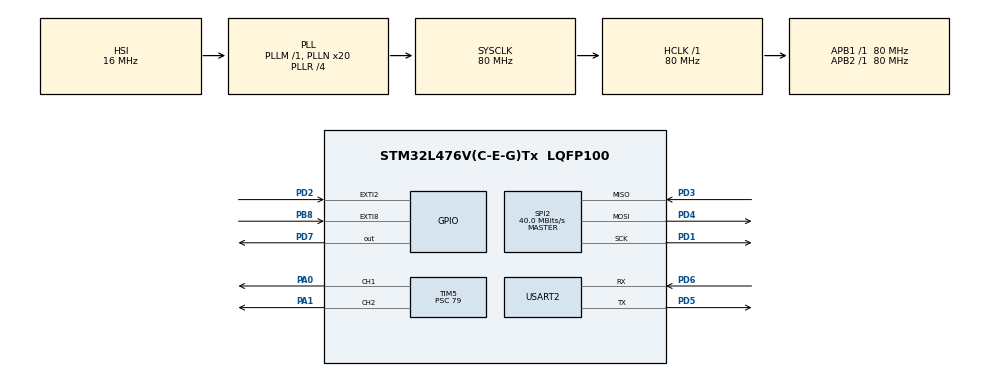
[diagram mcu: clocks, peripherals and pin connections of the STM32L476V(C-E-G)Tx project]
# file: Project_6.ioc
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FREERTOS.Tasks01=defaultTask,0,128,StartDefaultTask,Default,NULL
FREERTOS.configTOTAL_HEAP_SIZE=10000
FREERTOS.configUSE_IDLE_HOOK=1
Mcu.Family=STM32L4
Mcu.Name=STM32L476V(C-E-G)Tx
Mcu.Package=LQFP100
NVIC.PriorityGroup=NVIC_PRIORITYGROUP_4
NVIC.TIM2_IRQn=true\:0\:0\:false\:false\:true\:false\:false
NVIC.TimeBase=TIM2_IRQn
NVIC.TimeBaseIP=TIM2
NVIC.USART2_IRQn=true\:5\:0\:false\:false\:true\:true\:true
PA0.GPIO_Speed=GPIO_SPEED_FREQ_HIGH
PA0.Signal=S_TIM5_CH1
PA1.GPIO_Speed=GPIO_SPEED_FREQ_HIGH
PA1.Signal=S_TIM5_CH2
PB8.Signal=GPXTI8
PD1.Mode=Full_Duplex_Master
PD1.Signal=SPI2_SCK
PD2.Signal=GPXTI2
PD3.Mode=Full_Duplex_Master
PD3.Signal=SPI2_MISO
PD4.Mode=Full_Duplex_Master
PD4.Signal=SPI2_MOSI
PD5.Mode=Asynchronous
PD5.Signal=USART2_TX
PD6.Mode=Asynchronous
PD6.Signal=USART2_RX
PD7.Signal=GPIO_Output
ProjectManager.HeapSize=0x200
ProjectManager.StackSize=0x400
ProjectManager.TargetToolchain=MDK-ARM V5
RCC.ADCFreq_Value=96000000
RCC.AHBFreq_Value=80000000
RCC.APB1Freq_Value=80000000
RCC.APB1TimFreq_Value=80000000
RCC.APB2Freq_Value=80000000
RCC.APB2TimFreq_Value=80000000
RCC.CortexFreq_Value=80000000
RCC.HCLKFreq_Value=80000000
RCC.HSE_VALUE=8000000
RCC.HSI_VALUE=16000000
RCC.LSE_VALUE=32768
RCC.MSI_VALUE=4000000
RCC.PLLN=20
RCC.PLLR=RCC_PLLR_DIV4
RCC.PLLSAI1N=12
RCC.PLLSAI1Q=RCC_PLLQ_DIV4
RCC.PLLSourceVirtual=RCC_PLLSOURCE_HSI
RCC.SYSCLKFreq_VALUE=80000000
RCC.SYSCLKSource=RCC_SYSCLKSOURCE_PLLCLK
RCC.USBFreq_Value=48000000
RCC.VCOOutputFreq_Value=320000000
SH.S_TIM5_CH1.0=TIM5_CH1,PWM Generation1 CH1
SH.S_TIM5_CH2.0=TIM5_CH2,PWM Generation2 CH2
SPI2.CalculateBaudRate=40.0 MBits/s
SPI2.Direction=SPI_DIRECTION_2LINES
SPI2.Mode=SPI_MODE_MASTER
SPI2.VirtualType=VM_MASTER
TIM5.Channel-PWM\ Generation1\ CH1=TIM_CHANNEL_1
TIM5.Channel-PWM\ Generation2\ CH2=TIM_CHANNEL_2
TIM5.Period=20000
TIM5.Prescaler=79
TIM5.Pulse-PWM\ Generation1\ CH1=10000
TIM5.Pulse-PWM\ Generation2\ CH2=1000
USART2.VirtualMode-Asynchronous=VM_ASYNC
VP_FREERTOS_VS_ENABLE.Mode=Enabled
VP_RNG_VS_RNG.Mode=RNG_Activate
VP_SYS_VS_tim2.Mode=TIM2
VP_TIM5_VS_ClockSourceINT.Mode=Internal
board=custom

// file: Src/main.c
/* USER CODE BEGIN Header */
/**
  ******************************************************************************
  * @file           : main.c
  * @brief          : Main program body
  ******************************************************************************
  * This notice applies to any and all portions of this file
  * that are not between comment pairs USER CODE BEGIN and
  * USER CODE END. Other portions of this file, whether
  * inserted by the user or by software development tools
  * are owned by their respective copyright owners.
  *
  * Copyright (c) 2019 STMicroelectronics International N.V.
  * All rights reserved.
  *
  * Redistribution and use in source and binary forms, with or without
  * modification, are permitted, provided that the following conditions are met:
  *
  * 1. Redistribution of source code must retain the above copyright notice,
  *    this list of conditions and the following disclaimer.
  * 2. Redistributions in binary form must reproduce the above copyright notice,
  *    this list of conditions and the following disclaimer in the documentation
  *    and/or other materials provided with the distribution.
  * 3. Neither the name of STMicroelectronics nor the names of other
  *    contributors to this software may be used to endorse or promote products
  *    derived from this software without specific written permission.
  * 4. This software, including modifications and/or derivative works of this
  *    software, must execute solely and exclusively on microcontroller or
  *    microprocessor devices manufactured by or for STMicroelectronics.
  * 5. Redistribution and use of this software other than as permitted under
  *    this license is void and will automatically terminate your rights under
  *    this license.
  *
  * THIS SOFTWARE IS PROVIDED BY STMICROELECTRONICS AND CONTRIBUTORS "AS IS"
  * AND ANY EXPRESS, IMPLIED OR STATUTORY WARRANTIES, INCLUDING, BUT NOT
  * LIMITED TO, THE IMPLIED WARRANTIES OF MERCHANTABILITY, FITNESS FOR A
  * PARTICULAR PURPOSE AND NON-INFRINGEMENT OF THIRD PARTY INTELLECTUAL PROPERTY
  * RIGHTS ARE DISCLAIMED TO THE FULLEST EXTENT PERMITTED BY LAW. IN NO EVENT
  * SHALL STMICROELECTRONICS OR CONTRIBUTORS BE LIABLE FOR ANY DIRECT, INDIRECT,
  * INCIDENTAL, SPECIAL, EXEMPLARY, OR CONSEQUENTIAL DAMAGES (INCLUDING, BUT NOT
  * LIMITED TO, PROCUREMENT OF SUBSTITUTE GOODS OR SERVICES; LOSS OF USE, DATA,
  * OR PROFITS; OR BUSINESS INTERRUPTION) HOWEVER CAUSED AND ON ANY THEORY OF
  * LIABILITY, WHETHER IN CONTRACT, STRICT LIABILITY, OR TORT (INCLUDING
  * NEGLIGENCE OR OTHERWISE) ARISING IN ANY WAY OUT OF THE USE OF THIS SOFTWARE,
  * EVEN IF ADVISED OF THE POSSIBILITY OF SUCH DAMAGE.
  *
  ******************************************************************************
  */
/* USER CODE END Header */

#include "main.h"
#include "cmsis_os.h"

/* USER CODE BEGIN Includes */
#include "../Drivers/BSP/STM32L476G-Discovery/stm32l476g_discovery_gyroscope.h"
#include "servo.h"
#include "UART.h"
#include "gpio.h"
#include "recipe.h"
/* USER CODE END Includes */

/* USER CODE BEGIN PD */
#define SERVO_THRESHOLD_RANGE 75

#define OPCODE_MASK 0xE0
#define ARGS_MASK 0x1F
/* USER CODE END PD */

RNG_HandleTypeDef hrng;

SPI_HandleTypeDef hspi2;

TIM_HandleTypeDef htim5;

UART_HandleTypeDef huart2;

osThreadId defaultTaskHandle;
/* USER CODE BEGIN PV */
UART_HandleTypeDef huart2;

uint8_t rx_buffer[10];  // Shared buffer between foreground and UART RX
uint8_t rx_byte;        // the currently received byte
uint8_t rx_index = 0;   // pointer into the rx_buffer
SemaphoreHandle_t  transmit_mutex;  // protects UART transmitter resource
SemaphoreHandle_t  receive_mutex;   // protects UART receiveer resource

char print_buffer[128];

float gyro_val[] = {0.0, 0.0, 0.0};
uint32_t gyro_angle[] = {0, 0, 0};

int player_pos = 0;

int display_player_pos = 0;

int program_counter = 0;

unsigned char Level_1[] = {MOV|0, MOV|1, MOV|3, MOV|2, MOV|5};
unsigned char Level_2[] = {MOV|1, MOV|4, MOV|1, MOV|3, MOV|4};
unsigned char Level_3[] = {MOV|0, MOV|1, MOV|2, MOV|0, MOV|5};
/* USER CODE END PV */

void SystemClock_Config(void);
static void MX_GPIO_Init(void);
static void MX_USART2_UART_Init(void);
static void MX_RNG_Init(void);
static void MX_TIM5_Init(void);
static void MX_SPI2_Init(void);
void StartDefaultTask(void const * argument);

/* USER CODE BEGIN PFP */
void thread_init(void);
void gyro_thread(void* argument);
int random(int max, int min);
void servo_thread(void* argument);
void Timer5_init(void);
int FindCurrentPos(int arg);
void parse_recipe (int op, int args);
/* USER CODE END PFP */

int main(void)
{

  /* MCU Configuration--------------------------------------------------------*/

  /* Reset of all peripherals, Initializes the Flash interface and the Systick. */
  HAL_Init();

  /* USER CODE BEGIN Init */
	//BSP_GYRO_Init();
	UART_Init();
	//Timer5_init();

  /* USER CODE END Init */

  /* Configure the system clock */
  SystemClock_Config();

  /* Initialize all configured peripherals */
  MX_GPIO_Init();
  MX_USART2_UART_Init();
  MX_RNG_Init();
  MX_TIM5_Init();
  MX_SPI2_Init();
  /* USER CODE BEGIN 2 */
	//UART_Init();
	//GPIO_Init();
	//Timer5_init();
	BSP_GYRO_Init();
	HAL_TIM_PWM_Start(&htim5, TIM_CHANNEL_1);
  HAL_TIM_PWM_Start(&htim5, TIM_CHANNEL_2);

	SetPosition(0, 500);
	SetPosition(1, 1000);

  /* USER CODE END 2 */

  /* Create the thread(s) */
  /* definition and creation of defaultTask */
  osThreadDef(defaultTask, StartDefaultTask, osPriorityNormal, 0, 128);
  defaultTaskHandle = osThreadCreate(osThread(defaultTask), NULL);

  /* USER CODE BEGIN RTOS_THREADS */
  /* add threads, ... */
	thread_init();
  /* USER CODE END RTOS_THREADS */

  /* Start scheduler */
  osKernelStart();

  /* We should never get here as control is now taken by the scheduler */

  /* Infinite loop */
  while (1)
  {

  }
}

void SystemClock_Config(void)
{
  RCC_OscInitTypeDef RCC_OscInitStruct = {0};
  RCC_ClkInitTypeDef RCC_ClkInitStruct = {0};
  RCC_PeriphCLKInitTypeDef PeriphClkInit = {0};

  /**Initializes the CPU, AHB and APB busses clocks
  */
  RCC_OscInitStruct.OscillatorType = RCC_OSCILLATORTYPE_HSI;
  RCC_OscInitStruct.HSIState = RCC_HSI_ON;
  RCC_OscInitStruct.HSICalibrationValue = RCC_HSICALIBRATION_DEFAULT;
  RCC_OscInitStruct.PLL.PLLState = RCC_PLL_ON;
  RCC_OscInitStruct.PLL.PLLSource = RCC_PLLSOURCE_HSI;
  RCC_OscInitStruct.PLL.PLLM = 1;
  RCC_OscInitStruct.PLL.PLLN = 20;
  RCC_OscInitStruct.PLL.PLLP = RCC_PLLP_DIV7;
  RCC_OscInitStruct.PLL.PLLQ = RCC_PLLQ_DIV2;
  RCC_OscInitStruct.PLL.PLLR = RCC_PLLR_DIV4;
  if (HAL_RCC_OscConfig(&RCC_OscInitStruct) != HAL_OK)
  {
    Error_Handler();
  }
  /**Initializes the CPU, AHB and APB busses clocks
  */
  RCC_ClkInitStruct.ClockType = RCC_CLOCKTYPE_HCLK|RCC_CLOCKTYPE_SYSCLK
                              |RCC_CLOCKTYPE_PCLK1|RCC_CLOCKTYPE_PCLK2;
  RCC_ClkInitStruct.SYSCLKSource = RCC_SYSCLKSOURCE_PLLCLK;
  RCC_ClkInitStruct.AHBCLKDivider = RCC_SYSCLK_DIV1;
  RCC_ClkInitStruct.APB1CLKDivider = RCC_HCLK_DIV1;
  RCC_ClkInitStruct.APB2CLKDivider = RCC_HCLK_DIV1;

  if (HAL_RCC_ClockConfig(&RCC_ClkInitStruct, FLASH_LATENCY_4) != HAL_OK)
  {
    Error_Handler();
  }
  PeriphClkInit.PeriphClockSelection = RCC_PERIPHCLK_USART2|RCC_PERIPHCLK_RNG;
  PeriphClkInit.Usart2ClockSelection = RCC_USART2CLKSOURCE_PCLK1;
  PeriphClkInit.RngClockSelection = RCC_RNGCLKSOURCE_PLLSAI1;
  PeriphClkInit.PLLSAI1.PLLSAI1Source = RCC_PLLSOURCE_HSI;
  PeriphClkInit.PLLSAI1.PLLSAI1M = 1;
  PeriphClkInit.PLLSAI1.PLLSAI1N = 12;
  PeriphClkInit.PLLSAI1.PLLSAI1P = RCC_PLLP_DIV7;
  PeriphClkInit.PLLSAI1.PLLSAI1Q = RCC_PLLQ_DIV4;
  PeriphClkInit.PLLSAI1.PLLSAI1R = RCC_PLLR_DIV2;
  PeriphClkInit.PLLSAI1.PLLSAI1ClockOut = RCC_PLLSAI1_48M2CLK;
  if (HAL_RCCEx_PeriphCLKConfig(&PeriphClkInit) != HAL_OK)
  {
    Error_Handler();
  }
  /**Configure the main internal regulator output voltage
  */
  if (HAL_PWREx_ControlVoltageScaling(PWR_REGULATOR_VOLTAGE_SCALE1) != HAL_OK)
  {
    Error_Handler();
  }
}

static void MX_RNG_Init(void)
{

  hrng.Instance = RNG;
  if (HAL_RNG_Init(&hrng) != HAL_OK)
  {
    Error_Handler();
  }

}

static void MX_SPI2_Init(void)
{

  /* SPI2 parameter configuration*/
  hspi2.Instance = SPI2;
  hspi2.Init.Mode = SPI_MODE_MASTER;
  hspi2.Init.Direction = SPI_DIRECTION_2LINES;
  hspi2.Init.DataSize = SPI_DATASIZE_4BIT;
  hspi2.Init.CLKPolarity = SPI_POLARITY_LOW;
  hspi2.Init.CLKPhase = SPI_PHASE_1EDGE;
  hspi2.Init.NSS = SPI_NSS_SOFT;
  hspi2.Init.BaudRatePrescaler = SPI_BAUDRATEPRESCALER_2;
  hspi2.Init.FirstBit = SPI_FIRSTBIT_MSB;
  hspi2.Init.TIMode = SPI_TIMODE_DISABLE;
  hspi2.Init.CRCCalculation = SPI_CRCCALCULATION_DISABLE;
  hspi2.Init.CRCPolynomial = 7;
  hspi2.Init.CRCLength = SPI_CRC_LENGTH_DATASIZE;
  hspi2.Init.NSSPMode = SPI_NSS_PULSE_ENABLE;
  if (HAL_SPI_Init(&hspi2) != HAL_OK)
  {
    Error_Handler();
  }

}

static void MX_TIM5_Init(void)
{

  TIM_ClockConfigTypeDef sClockSourceConfig = {0};
  TIM_MasterConfigTypeDef sMasterConfig = {0};
  TIM_OC_InitTypeDef sConfigOC = {0};

  htim5.Instance = TIM5;
  htim5.Init.Prescaler = 79;
  htim5.Init.CounterMode = TIM_COUNTERMODE_UP;
  htim5.Init.Period = 20000;
  htim5.Init.ClockDivision = TIM_CLOCKDIVISION_DIV1;
  htim5.Init.AutoReloadPreload = TIM_AUTORELOAD_PRELOAD_DISABLE;
  if (HAL_TIM_Base_Init(&htim5) != HAL_OK)
  {
    Error_Handler();
  }
  sClockSourceConfig.ClockSource = TIM_CLOCKSOURCE_INTERNAL;
  if (HAL_TIM_ConfigClockSource(&htim5, &sClockSourceConfig) != HAL_OK)
  {
    Error_Handler();
  }
  if (HAL_TIM_PWM_Init(&htim5) != HAL_OK)
  {
    Error_Handler();
  }
  sMasterConfig.MasterOutputTrigger = TIM_TRGO_RESET;
  sMasterConfig.MasterSlaveMode = TIM_MASTERSLAVEMODE_DISABLE;
  if (HAL_TIMEx_MasterConfigSynchronization(&htim5, &sMasterConfig) != HAL_OK)
  {
    Error_Handler();
  }
  sConfigOC.OCMode = TIM_OCMODE_PWM1;
  sConfigOC.Pulse = 10000;
  sConfigOC.OCPolarity = TIM_OCPOLARITY_HIGH;
  sConfigOC.OCFastMode = TIM_OCFAST_DISABLE;
  if (HAL_TIM_PWM_ConfigChannel(&htim5, &sConfigOC, TIM_CHANNEL_1) != HAL_OK)
  {
    Error_Handler();
  }
  sConfigOC.Pulse = 1000;
  if (HAL_TIM_PWM_ConfigChannel(&htim5, &sConfigOC, TIM_CHANNEL_2) != HAL_OK)
  {
    Error_Handler();
  }
  HAL_TIM_MspPostInit(&htim5);

}

static void MX_USART2_UART_Init(void)
{

  huart2.Instance = USART2;
  huart2.Init.BaudRate = 115200;
  huart2.Init.WordLength = UART_WORDLENGTH_8B;
  huart2.Init.StopBits = UART_STOPBITS_1;
  huart2.Init.Parity = UART_PARITY_NONE;
  huart2.Init.Mode = UART_MODE_TX_RX;
  huart2.Init.HwFlowCtl = UART_HWCONTROL_NONE;
  huart2.Init.OverSampling = UART_OVERSAMPLING_16;
  huart2.Init.OneBitSampling = UART_ONE_BIT_SAMPLE_DISABLE;
  huart2.AdvancedInit.AdvFeatureInit = UART_ADVFEATURE_NO_INIT;
  if (HAL_UART_Init(&huart2) != HAL_OK)
  {
    Error_Handler();
  }

}

static void MX_GPIO_Init(void)
{
  GPIO_InitTypeDef GPIO_InitStruct = {0};

  /* GPIO Ports Clock Enable */
  __HAL_RCC_GPIOA_CLK_ENABLE();
  __HAL_RCC_GPIOD_CLK_ENABLE();
  __HAL_RCC_GPIOB_CLK_ENABLE();

  /*Configure GPIO pin Output Level */
  HAL_GPIO_WritePin(GPIOD, GPIO_PIN_7, GPIO_PIN_RESET);

  /*Configure GPIO pin : PD2 */
  GPIO_InitStruct.Pin = GPIO_PIN_2;
  GPIO_InitStruct.Mode = GPIO_MODE_IT_RISING;
  GPIO_InitStruct.Pull = GPIO_NOPULL;
  HAL_GPIO_Init(GPIOD, &GPIO_InitStruct);

  /*Configure GPIO pin : PD7 */
  GPIO_InitStruct.Pin = GPIO_PIN_7;
  GPIO_InitStruct.Mode = GPIO_MODE_OUTPUT_PP;
  GPIO_InitStruct.Pull = GPIO_NOPULL;
  GPIO_InitStruct.Speed = GPIO_SPEED_FREQ_LOW;
  HAL_GPIO_Init(GPIOD, &GPIO_InitStruct);

  /*Configure GPIO pin : PB8 */
  GPIO_InitStruct.Pin = GPIO_PIN_8;
  GPIO_InitStruct.Mode = GPIO_MODE_IT_RISING;
  GPIO_InitStruct.Pull = GPIO_NOPULL;
  HAL_GPIO_Init(GPIOB, &GPIO_InitStruct);

}

void StartDefaultTask(void const * argument)
{

  for(;;)
  {
    osDelay(1);
  }
}

void HAL_TIM_PeriodElapsedCallback(TIM_HandleTypeDef *htim)
{
  if (htim->Instance == TIM2) {
    HAL_IncTick();
  }
}

void Error_Handler(void)
{
}

/************************ (C) COPYRIGHT STMicroelectronics *****END OF FILE****/
void UART_Init(void){//UART_HandleTypeDef *huart2){
	//huart2_thread = *huart2;
	transmit_mutex = xSemaphoreCreateMutex();     // create mutex to protect UART transmitter resource
	receive_mutex = xSemaphoreCreateMutex();      // create mutex to protect UART receiver resource
	HAL_UART_Receive_IT(&huart2, &rx_byte, 1);    // one time, kick off receive interrupt (repeated from within rx callback)
}

/*
 * Timer5_init() - initializes timer registers for Timer5 PWM generation
 */
void Timer5_init(){
	RCC->APB1ENR1 |= RCC_APB1ENR1_TIM5EN;

	TIM5->PSC |= 0x1F3F;
	//TIM5->EGR |= TIM_EGR_UG;

	TIM5->CCMR1 &= ~(0x03 << 8);
    TIM5->CCMR2 &= ~(0x03 << 0);
    TIM5->CCMR1 &= ~(0x07 << 12);
	TIM5->CCMR2 &= ~(0x07 << 12);
    TIM5->CCMR1 |= (TIM_CCMR1_OC2PE | TIM_CCMR1_OC2M_1 | TIM_CCMR1_OC2M_2);
	TIM5->CCMR2 |= (TIM_CCMR2_OC3PE | TIM_CCMR2_OC3M_1 | TIM_CCMR2_OC3M_2);

	TIM5->CR1 |= TIM_CR1_ARPE;
	TIM5->CCER |= (TIM_CCER_CC2E | TIM_CCER_CC3E);

	TIM5->ARR = 200;

	TIM5->CCR2 = 10;
	TIM5->CCR3 = 10;

	TIM5->EGR |= TIM_EGR_UG;

	//TIM5->CR1 |= TIM_CR1_CEN;
}

/*
 * prints the string, blocks if UART busy, thus safe from multiple threads
 */
void vPrintString(char *message) {
  xSemaphoreTake(transmit_mutex, ~0);         // Wait forever until the USART is free, then take mutex
  HAL_UART_Transmit(&huart2, (uint8_t *)message, strlen(message), 10000);
  xSemaphoreGive(transmit_mutex);             // Give up mutex after printing
	//HAL_Delay(100);
}

/*
 * overrides _weak HAL receiver callback, called when byte received
 */
void HAL_UART_RxCpltCallback(UART_HandleTypeDef *huart) {
  BaseType_t xTaskWoken = pdFALSE;
  static BaseType_t i_have_receive_mutex = pdFALSE;
  if(huart->Instance == USART2) {

    // if received byte is a newline, give the received buffer to the forground
    if(rx_byte == '\r') {
      xSemaphoreGiveFromISR(receive_mutex, &xTaskWoken);
      i_have_receive_mutex = pdFALSE;     // We don't have the mutex anymore
      rx_index = 0;                       // Next time around, queue data from start of buffer
    }

    // buffer all characters
    else {
      // acquire receive_mutex once
      if(!i_have_receive_mutex) {
        xSemaphoreTakeFromISR(receive_mutex,  &xTaskWoken);
        i_have_receive_mutex = pdTRUE;    // don't need to ask to Take again
      }

      // buffer all other characters
      rx_buffer[rx_index++] = rx_byte;    // buffer the byte
      rx_buffer[rx_index] = 0;            // keep string NULL terminated
      if(rx_index >= sizeof(rx_buffer))
        rx_index = 0;
    }
    HAL_UART_Receive_IT(&huart2, &rx_byte, 1);  // one time, kick off receive interrupt (repeated from within callback)
  }
}

/*
 * Initializes the servo thread and the gyro thread.
 * @param: void
 * @return: void
 */
void thread_init(void){

	xTaskCreate (servo_thread,	"servo_thread", 256, NULL, osPriorityNormal, NULL);
	xTaskCreate (gyro_thread,	"gyro_thread", 256, NULL, osPriorityNormal, NULL);
}

/*
 * Gyroscopic thread creation. This code works by grabbing the raw gyro value and getting
 * the angle of the gyro (relative to the Z-axis). This angle is used in the calcuation
 * of the actual position of the board.
 *
 * @param argument: void pointer used for thread instantiation, currently not used within
 *                  the code.
 * @return: void
 */
void gyro_thread(void* argument) {
  char buffer[128];
	int gyro_pos = 0;
	int num_display = 0;
  for(;;){

		BSP_GYRO_GetXYZ(gyro_val);   // get raw values from gyro device

    // integrate angular velocity to get angle
    gyro_angle[2] += (int32_t)(gyro_val[2] / 10000);

		//Player position setting functionality
		gyro_pos = ((gyro_angle[2]+150)*5) + (MIN_SERVO_PWM);
		if(gyro_pos < MIN_SERVO_PWM){
			SetPosition(PLAYER_SERVO, MIN_SERVO_PWM);
			HAL_TIM_PWM_Start(&htim5, TIM_CHANNEL_2);
			player_pos = MIN_SERVO_PWM;
		}
		else if(gyro_pos > MAX_SERVO_PWM){
			SetPosition(PLAYER_SERVO, MAX_SERVO_PWM);
			player_pos = MAX_SERVO_PWM;
		}
		else{
			SetPosition(PLAYER_SERVO, gyro_pos);
			player_pos = gyro_pos;
		}
		/*
		if(display_player_pos){
			if(num_display == 0){
				sprintf(buffer, "player_pos: %4d",player_pos);
				vPrintString(buffer);
			}
			else{
				sprintf(buffer, "\b\b\b\b%4d", player_pos);
				vPrintString(buffer);
			}
			num_display++;
		}
		if(!display_player_pos){
			num_display = 0;
		}
		*/
    osDelay(50);//delay as to not run too fast
  }
}
/*
 * Servo thread creation. This code handles the actual game and the user interface. The user
 * decides whether to run the base game (mirror game) or the levels (recipes). The base game
 * runs through 10 rounds, delaying for 5 seconds each round. If the player does not get within
 * 5% of the duty cycle, no win is recorded; otherwise, a win is recorded. The levels are
 * recipes already initialized that the computer servo will use to move around and that the
 * player is expected to get within 5% of the servo in one round. Feedback is displayed after
 * every round, and, at the end of the levels or 10 rounds for the base game, the overall
 * score is displayed, and the game ends. The cycle is then repeated again.
 *
 * @param argument: void pointer used for thread instantiation, currently not used within
 *                  the code.
 * @return: void
 */
void servo_thread(void* argument){
	int current_pos = 0, next_pos = 0;
	int score = 0;//total amount of wins
	uint8_t rx_byte = 0;//character from user input

	//Thread Startup
	sprintf(print_buffer,"Starting game thread!\r\n");
	vPrintString(print_buffer);
	sprintf(print_buffer, "Would you like to:\r\n\t1) Play base game\r\n\t2) Play game levels\r\n");
	vPrintString(print_buffer);
	//Waiting for user input to begin...
	while(rx_byte == 0){
		HAL_UART_Receive_IT(&huart2, &rx_byte, 1);
	}
	//Base Game functionality
	if(rx_byte == '1'){
		sprintf(print_buffer, "Starting base game!\r\n");
		vPrintString(print_buffer);
		//Loop for rounds 1-10
		for(int i = 1; i<11; i++){
			next_pos = random(MAX_SERVO_PWM, MIN_SERVO_PWM);
			//handling for different position than last round
			while(next_pos > current_pos-200 && next_pos < current_pos+200){
				next_pos = random(MAX_SERVO_PWM, MIN_SERVO_PWM);
			}
			//Beginning of round
			sprintf(print_buffer, "Starting Round %d", i);
			vPrintString(print_buffer);
			SetPosition(COMPUTER_SERVO, next_pos);
			HAL_TIM_PWM_Start(&htim5, TIM_CHANNEL_1);
			current_pos = next_pos;

			//sprintf(print_buffer, "servo_pos: %d\t", current_pos);
			//vPrintString(print_buffer);
			//display_player_pos = 1;

			osDelay(5000);//Simulating round time
			//display_player_pos = 0;
			//Successful win!
			if(player_pos >= (current_pos - SERVO_THRESHOLD_RANGE) && player_pos <= (current_pos + SERVO_THRESHOLD_RANGE)){
				score++;
				sprintf(print_buffer, ": PLAYER SUCCESSFUL!\r\n");
				vPrintString(print_buffer);
			}
			//Failure
			else{
				sprintf(print_buffer, ": PLAYER FAIL!\r\n");
				vPrintString(print_buffer);
			}//end else statement
		}//end for loop
		//End of game
		sprintf(print_buffer, "Score: %d\r\nGAME OVER\r\n", score);
		vPrintString(print_buffer);
	}

 //Level Game functionality
	if(rx_byte == '2'){
		//Initialization for Level 1
		sprintf(print_buffer,"Starting Level 1\r\n");
		vPrintString(print_buffer);
		//Rounds 1-5
		for(int i = 0; i<5; i++){
			sprintf(print_buffer, "Starting Round %d", i+1);
			vPrintString(print_buffer);
			int recipe_command = Level_1[i];
			int op = recipe_command & OPCODE_MASK;
			int args = recipe_command & ARGS_MASK;
			parse_recipe(op, args);

			current_pos = FindCurrentPos(args);

			osDelay(5000);//simulate 5 seconds real time

			if(player_pos >= (current_pos - SERVO_THRESHOLD_RANGE) && player_pos <= (current_pos + SERVO_THRESHOLD_RANGE)){
				score++;
				sprintf(print_buffer, ": PLAYER SUCCESSFUL!\r\n");
				vPrintString(print_buffer);
			}
			else{
				sprintf(print_buffer, ": PLAYER FAIL!\r\n");
				vPrintString(print_buffer);
			}//end else statement
		}//end for loop
		//Level 1 Results
		sprintf(print_buffer, "Score after level 1: %d\r\n", score);
		vPrintString(print_buffer);
		osDelay(5000);//5 seconds delay for a break

		//Level 2 Inintialization
		sprintf(print_buffer,"Starting Level 2\r\n");
		vPrintString(print_buffer);
		//Rounds 1-5 for Level 2
		for(int i = 0; i<5; i++){
			sprintf(print_buffer, "Starting Round %d", i+1);
			vPrintString(print_buffer);
			int recipe_command = Level_1[i];
			int op = recipe_command & OPCODE_MASK;
			int args = recipe_command & ARGS_MASK;
			parse_recipe(op, args);
			current_pos = FindCurrentPos(args);

			//Level 2 only provides 3 seconds to win
			osDelay(3000);
			//Success!
			if(player_pos >= (current_pos - SERVO_THRESHOLD_RANGE) && player_pos <= (current_pos + SERVO_THRESHOLD_RANGE)){
				score++;
				sprintf(print_buffer, ": PLAYER SUCCESSFUL!\r\n");
				vPrintString(print_buffer);
			}
			//Failure
			else{
				sprintf(print_buffer, ": PLAYER FAIL!\r\n");
				vPrintString(print_buffer);
			}//end else statement
		}//end for loop
		//End of Level 2
		sprintf(print_buffer, "Score after level 2: %d\r\n", score);
		vPrintString(print_buffer);
		osDelay(5000);//5 seconds delay for a break

		//Level 3 Initialization
		sprintf(print_buffer,"Starting Level 3\r\n");
		vPrintString(print_buffer);
		//Rounds 1-5 for Level 3
		for(int i = 0; i<5; i++){
			sprintf(print_buffer, "Starting Round %d", i+1);
			vPrintString(print_buffer);
			int recipe_command = Level_1[i];
			int op = recipe_command & OPCODE_MASK;
			int args = recipe_command & ARGS_MASK;
			parse_recipe(op, args);
			current_pos = FindCurrentPos(args);

			//Level 3 only allows for 1 second to complete
			osDelay(1000);
			//Success!
			if(player_pos >= (current_pos - SERVO_THRESHOLD_RANGE) && player_pos <= (current_pos + SERVO_THRESHOLD_RANGE)){
				score++;
				sprintf(print_buffer, ": PLAYER SUCCESSFUL!\r\n");
				vPrintString(print_buffer);
			}
			//Failure
			else{
				sprintf(print_buffer, ": PLAYER FAIL!\r\n");
				vPrintString(print_buffer);
			}//end else statement
		}//end for loop
		//End of Level 3
		sprintf(print_buffer, "Final Score: %d\r\nGAME OVER\r\n", score);
		vPrintString(print_buffer);
	}

}

/*
 * Random Number Generator using freeRTOS's provided RNG code. Starts at 0.
 *
 * @param max: the max value that a random number can be (range is 0 to max).
 * @param min: the min value that a random number can be (range is 0 to max).
               Used to find true max value for range of numbers.
 * @return: random number generated
 */
int random(int max, int min){
	max = max-min;
	uint32_t random_number;
	HAL_RNG_GenerateRandomNumber(&hrng, &random_number);
	random_number = (random_number%max) + min;

	return (int)random_number;
}
/*
 * Recipe parsing code borrowed from previous projects used for level recipe parsing.
 *
 * @param op: The command provided
 * @param args: Arguments for the command provided
 * @return: void
 */
void parse_recipe (int op, int args){
	switch(op){
			case MOV:
				if(args >= 0 && args <= 5){
					switch(args){
						case 1:
							SetPosition(COMPUTER_SERVO, POS1);
							break;
						case 2:
							SetPosition(COMPUTER_SERVO, POS2);
							break;
						case 3:
							SetPosition(COMPUTER_SERVO, POS3);
							break;
						case 4:
							SetPosition(COMPUTER_SERVO, POS4);
							break;
						case 5:
							SetPosition(COMPUTER_SERVO, POS5);
							break;
						default:
							SetPosition(COMPUTER_SERVO, POS0);
					}
				}
				break;
			default:
				break;
	}
}

/*
 * Used to reference positions.
 * @param arg: position being passed in
 * @return: position being referenced
 */
int FindCurrentPos(int arg){
	switch(arg){
		case 1:
			return POS1;
		case 2:
			return POS2;
		case 3:
			return POS3;
		case 4:
			return POS4;
		case 5:
			return POS5;
		default:
			return POS0;
	}
}

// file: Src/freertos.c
/* USER CODE BEGIN Header */
/**
  ******************************************************************************
  * File Name          : freertos.c
  * Description        : Code for freertos applications
  ******************************************************************************
  * This notice applies to any and all portions of this file
  * that are not between comment pairs USER CODE BEGIN and
  * USER CODE END. Other portions of this file, whether
  * inserted by the user or by software development tools
  * are owned by their respective copyright owners.
  *
  * Copyright (c) 2019 STMicroelectronics International N.V.
  * All rights reserved.
  *
  * Redistribution and use in source and binary forms, with or without
  * modification, are permitted, provided that the following conditions are met:
  *
  * 1. Redistribution of source code must retain the above copyright notice,
  *    this list of conditions and the following disclaimer.
  * 2. Redistributions in binary form must reproduce the above copyright notice,
  *    this list of conditions and the following disclaimer in the documentation
  *    and/or other materials provided with the distribution.
  * 3. Neither the name of STMicroelectronics nor the names of other
  *    contributors to this software may be used to endorse or promote products
  *    derived from this software without specific written permission.
  * 4. This software, including modifications and/or derivative works of this
  *    software, must execute solely and exclusively on microcontroller or
  *    microprocessor devices manufactured by or for STMicroelectronics.
  * 5. Redistribution and use of this software other than as permitted under
  *    this license is void and will automatically terminate your rights under
  *    this license.
  *
  * THIS SOFTWARE IS PROVIDED BY STMICROELECTRONICS AND CONTRIBUTORS "AS IS"
  * AND ANY EXPRESS, IMPLIED OR STATUTORY WARRANTIES, INCLUDING, BUT NOT
  * LIMITED TO, THE IMPLIED WARRANTIES OF MERCHANTABILITY, FITNESS FOR A
  * PARTICULAR PURPOSE AND NON-INFRINGEMENT OF THIRD PARTY INTELLECTUAL PROPERTY
  * RIGHTS ARE DISCLAIMED TO THE FULLEST EXTENT PERMITTED BY LAW. IN NO EVENT
  * SHALL STMICROELECTRONICS OR CONTRIBUTORS BE LIABLE FOR ANY DIRECT, INDIRECT,
  * INCIDENTAL, SPECIAL, EXEMPLARY, OR CONSEQUENTIAL DAMAGES (INCLUDING, BUT NOT
  * LIMITED TO, PROCUREMENT OF SUBSTITUTE GOODS OR SERVICES; LOSS OF USE, DATA,
  * OR PROFITS; OR BUSINESS INTERRUPTION) HOWEVER CAUSED AND ON ANY THEORY OF
  * LIABILITY, WHETHER IN CONTRACT, STRICT LIABILITY, OR TORT (INCLUDING
  * NEGLIGENCE OR OTHERWISE) ARISING IN ANY WAY OUT OF THE USE OF THIS SOFTWARE,
  * EVEN IF ADVISED OF THE POSSIBILITY OF SUCH DAMAGE.
  *
  ******************************************************************************
  */
/* USER CODE END Header */

#include "FreeRTOS.h"
#include "task.h"
#include "main.h"

/* Hook prototypes */
void vApplicationIdleHook(void);

/* USER CODE BEGIN 2 */
__weak void vApplicationIdleHook( void )
{
   /* vApplicationIdleHook() will only be called if configUSE_IDLE_HOOK is set
   to 1 in FreeRTOSConfig.h. It will be called on each iteration of the idle
   task. It is essential that code added to this hook function never attempts
   to block in any way (for example, call xQueueReceive() with a block time
   specified, or call vTaskDelay()). If the application makes use of the
   vTaskDelete() API function (as this demo application does) then it is also
   important that vApplicationIdleHook() is permitted to return to its calling
   function, because it is the responsibility of the idle task to clean up
   memory allocated by the kernel to any task that has since been deleted. */
}
/* USER CODE END 2 */

/************************ (C) COPYRIGHT STMicroelectronics *****END OF FILE****/
